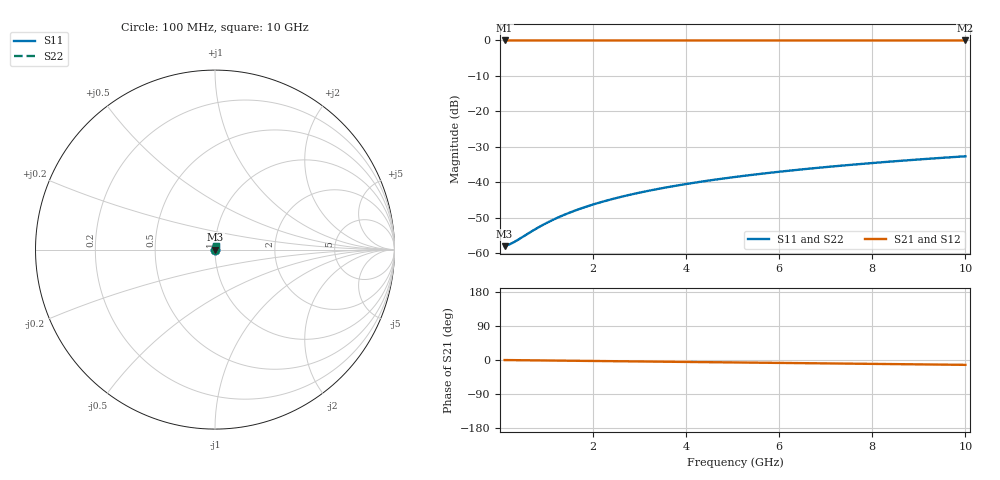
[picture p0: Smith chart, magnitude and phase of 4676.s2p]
# Hz S RI R 50.00
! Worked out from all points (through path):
!   100 points, 100 MHz to 10 GHz, reference 50 ohm
!   highest |S21| = -0.01 dB at 100 MHz (marker M1); lowest = 0.0 dB at 10 GHz (marker M2)
!   group delay of S21, straight-line fit = 3.56 ps
!   lowest |S11| = -57.9 dB at 100 MHz (marker M3), VSWR 1.00, Z = 50.1 + j0.0234 ohm
!   |S11| at or under -10 dB: start of sweep to end of sweep
!   |S22| runs from -57.9 to -32.6 dB; largest |S21 - S12| = 0
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1e8  0.00125 0.000233  0.9987 -0.00223  0.9987 -0.00223  0.00125 0.000233
2e8  0.00125 0.000467  0.9987 -0.00445  0.9987 -0.00445  0.00125 0.000467
3e8  0.00126 0.0007  0.9987 -0.00668  0.9987 -0.00668  0.00126 0.0007
8e8  0.00131 0.00187  0.9986 -0.0178  0.9986 -0.0178  0.00131 0.00187
9e8  0.00132 0.0021  0.9985 -0.02  0.9985 -0.02  0.00132 0.0021
1.1e9  0.00134 0.00256  0.9984 -0.0245  0.9984 -0.0245  0.00134 0.00256
1.4e9  0.00139 0.00326  0.9982 -0.0312  0.9982 -0.0312  0.00139 0.00326
1.6e9  0.00142 0.00373  0.998 -0.0356  0.998 -0.0356  0.00142 0.00373
1.8e9  0.00146 0.00419  0.9979 -0.0401  0.9979 -0.0401  0.00146 0.00419
2.1e9  0.00152 0.00489  0.9976 -0.0467  0.9976 -0.0467  0.00152 0.00489
2.5e9  0.00162 0.00581  0.9971 -0.0556  0.9971 -0.0556  0.00162 0.00581
2.9e9  0.00174 0.00674  0.9965 -0.0645  0.9965 -0.0645  0.00174 0.00674
3.4e9  0.0019 0.00789  0.9957 -0.0757  0.9957 -0.0757  0.0019 0.00789
3.8e9  0.00205 0.0088  0.995 -0.0845  0.995 -0.0845  0.00205 0.0088
4.2e9  0.00222 0.00972  0.9942 -0.0934  0.9942 -0.0934  0.00222 0.00972
4.6e9  0.00241 0.0106  0.9933 -0.1023  0.9933 -0.1023  0.00241 0.0106
5.1e9  0.00266 0.0118  0.9921 -0.1134  0.9921 -0.1134  0.00266 0.0118
5.9e9  0.00312 0.0136  0.9898 -0.1311  0.9898 -0.1311  0.00312 0.0136
6.7e9  0.00364 0.0153  0.9873 -0.1488  0.9873 -0.1488  0.00364 0.0153
7.5e9  0.00423 0.0171  0.9844 -0.1664  0.9844 -0.1664  0.00423 0.0171
8.4e9  0.00496 0.0191  0.9808 -0.1862  0.9808 -0.1862  0.00496 0.0191
1e10  0.00646 0.0225  0.9734 -0.2213  0.9734 -0.2213  0.00646 0.0225
